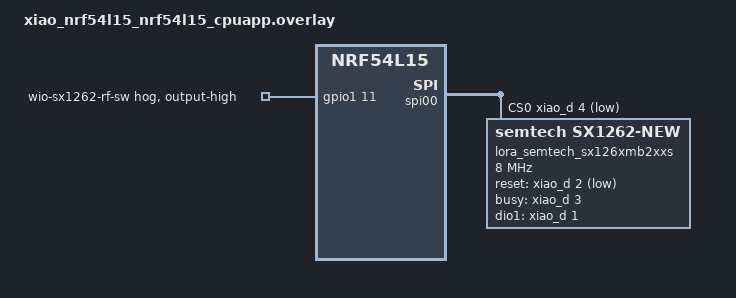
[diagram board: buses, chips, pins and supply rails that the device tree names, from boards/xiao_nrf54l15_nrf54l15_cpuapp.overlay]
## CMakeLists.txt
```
#
# Copyright (c) 2023 Nordic Semiconductor ASA
#
# SPDX-License-Identifier: LicenseRef-Nordic-5-Clause
#

cmake_minimum_required(VERSION 3.20.0)

get_filename_component(SIDEWALK_DEVKIT_BOARD_MODULE
    "${CMAKE_CURRENT_LIST_DIR}/../../../Sidewalk_Devkit_Board_Files"
    ABSOLUTE
)
if(EXISTS "${SIDEWALK_DEVKIT_BOARD_MODULE}/zephyr/module.yml")
    list(APPEND ZEPHYR_EXTRA_MODULES "${SIDEWALK_DEVKIT_BOARD_MODULE}")
endif()

# Zephyr CMake project
find_package(Zephyr REQUIRED HINTS $ENV{ZEPHYR_BASE})
project(sidewalk_sid_end_device)

# Source files
target_include_directories(app PRIVATE include)
target_sources(app PRIVATE
src/main.c
src/sidewalk.c
src/sidewalk_events.c
)
target_sources_ifdef(CONFIG_SIDEWALK_FILE_TRANSFER app PRIVATE 
    src/sbdt/scratch_buffer.c
)
target_sources_ifdef(CONFIG_SIDEWALK_FILE_TRANSFER_DFU app PRIVATE
    src/sbdt/dfu_file_transfer.c
)

if(CONFIG_SID_END_DEVICE_SENSOR_MONITORING)
    target_sources(app PRIVATE
        src/sensor_monitoring/app_buttons.c
        src/sensor_monitoring/app_leds.c
        src/sensor_monitoring/app_sensor.c
        src/sensor_monitoring/app_tx.c
        src/sensor_monitoring/app_rx.c
        src/sensor_monitoring/app.c
    )
    target_sources_ifdef(CONFIG_SID_END_DEVICE_SENSOR_NFC_ID app PRIVATE
        src/sensor_monitoring/app_nfc.c
    )
elseif(CONFIG_SID_END_DEVICE_DUT)
    target_sources(app PRIVATE
        src/cli/app.c
    )
    target_sources_ifdef(CONFIG_SID_END_DEVICE_CLI_SENSOR_COMMANDS app PRIVATE
        src/sensor_monitoring/app_sensor.c
    )
else()
    target_sources(app PRIVATE
        src/hello/app.c
    )
endif()

target_sources_ifdef(CONFIG_SID_END_DEVICE_MEMFAULT app PRIVATE
    src/memfault/app_memfault.c
)
if(CONFIG_SID_END_DEVICE_MEMFAULT)
    zephyr_include_directories(config)
endif()

if(CONFIG_SID_END_DEVICE_CLI)
    target_sources(app PRIVATE
        src/cli/app_cli_ui.c
        src/cli/app_dut.c
        src/cli/app_shell.c
        src/cli/prov_status.c
    )
    target_sources_ifdef(CONFIG_SIDEWALK_FILE_TRANSFER_SHELL app PRIVATE
        src/cli/sbdt_shell.c
        src/cli/sbdt_shell_events.c
        src/cli/sbdt_shell_file_transfer.c
    )
    target_sources_ifdef(CONFIG_SIDEWALK_ON_DEV_CERT app PRIVATE 
        src/cli/sid_on_dev_cert_cli.c
    )
    target_sources_ifdef(CONFIG_SIDEWALK_LOCATION_SHELL app PRIVATE
        src/cli/location_shell.c
        src/cli/location_shell_events.c
    )
endif()
```

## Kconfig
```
#
# Copyright (c) 2022 Nordic Semiconductor ASA
#
# SPDX-License-Identifier: LicenseRef-Nordic-5-Clause
#

mainmenu "Sidewalk End Device nRF Connect Application"

choice SID_END_DEVICE
	prompt "Select application variant to run"
    default SID_END_DEVICE_HELLO
config SID_END_DEVICE_HELLO
    bool "Sidewalk hello world application"
config SID_END_DEVICE_SENSOR_MONITORING
    bool "Demo sensor monitoring application"
    imply SIDEWALK_DEMO_PARSER
    imply SENSOR
    imply TEMP_NRF5
config SID_END_DEVICE_DUT
    bool "Device under test application"
endchoice #SID_END_DEVICE

if SID_END_DEVICE_HELLO

config SID_END_DEVICE_ECHO_MSGS
    bool "Eable message echo feature"
    default y
    help
      Echo received messages back to Sidewlak cloud.
      Works with GET and SET messages types.

config SID_END_DEVICE_HELLO_COMPARE_AUTOSWITCH
    bool "Auto-run DK hello link-switch sequence"
    help
      For single-button boards used in compare testing, inject the same
      short-press sequence normally driven by DK button 3:
      BLE -> FSK -> BLE+LoRa.

if SID_END_DEVICE_HELLO_COMPARE_AUTOSWITCH

config SID_END_DEVICE_HELLO_COMPARE_FSK_DELAY_S
    int "Delay before switching from BLE to FSK"
    range 1 120
    default 6

config SID_END_DEVICE_HELLO_COMPARE_LORA_DELAY_S
    int "Delay before switching from FSK to BLE+LoRa"
    range 1 180
    default 12

endif # SID_END_DEVICE_HELLO_COMPARE_AUTOSWITCH

endif #SID_END_DEVICE_HELLO

if SID_END_DEVICE_SENSOR_MONITORING

rsource "Kconfig.sensor_monitoring"

endif #SID_END_DEVICE_SENSOR_MONITORING

config SID_END_DEVICE_CLI
    bool "Enable Sidewalk CLI (DUT)"
    imply SHELL
    select SIDEWALK_MFG_STORAGE_DIAGNOSTIC
    help
      Enables Sidewalk command line interface.
      The interface commands are compatilbe with former dut sample.

      Selects SIDEWALK_MFG_STORAGE_DIAGNOSTIC because the prov commands write
      credentials with sid_pal_mfg_store_write(), which is compiled as a no-op
      without it. That symbol has no prompt, so it cannot be set from a .conf
      file and has to be selected here. Selecting it directly also means
      SIDEWALK_ON_DEV_CERT can stay off, which frees about 9.8 KB of SRAM
      (kheap_cert_heap and cert_chain_buffer).

if SID_END_DEVICE_CLI

config SHELL_CMD_BUFF_SIZE
	default 1024

config SHELL_STACK_SIZE
	default 8192

config SHELL_BACKEND_SERIAL_TX_RING_BUFFER_SIZE
	default 128

config SHELL_BACKEND_SERIAL_RX_RING_BUFFER_SIZE
	default 1024

config SID_END_DEVICE_NUS_SHELL
	bool "BLE NUS shell companion"
	depends on BT
	select SHELL_BT_NUS
	help
	  Exposes the Zephyr shell over Nordic UART Service on a separate BLE
	  advertiser so browser tools can talk to the DUT shell without taking
	  over the Sidewalk BLE identity.

if SID_END_DEVICE_NUS_SHELL

config SID_END_DEVICE_NUS_DEVICE_NAME
	string "BLE name for the NUS shell advertiser"
	default "XIAO-WebShell"
	help
	  Complete local name placed in the primary legacy advertising packet.
	  Keep the encoded name at 13 bytes or fewer so it fits beside the
	  required advertising flags and Sidewalk identity fingerprint.

config SID_END_DEVICE_NUS_ADV_INTERVAL_MS
	int "NUS advertising interval in ms"
	range 40 2000
	default 200

config SID_END_DEVICE_NUS_CONN_INTERVAL_MIN_MS
	int "Preferred minimum NUS connection interval in ms"
	range 15 4000
	default 30

config SID_END_DEVICE_NUS_CONN_INTERVAL_MAX_MS
	int "Preferred maximum NUS connection interval in ms"
	range 15 4000
	default 60

config SHELL_BT_NUS_TX_RING_BUFFER_SIZE
	default 256

config SHELL_BT_NUS_RX_RING_BUFFER_SIZE
	default 256

endif # SID_END_DEVICE_NUS_SHELL

config SID_END_DEVICE_CLI_ALIVE_MAKRER
    bool "Enable alive marker"
    help
        Enable alive marker that periodically prints "alive" message to log.
        Useful to verify that application is running and not stuck.

config SID_END_DEVICE_CLI_SENSOR_COMMANDS
	bool "Sensor and power send shell commands"
	depends on SENSOR
	default y if SID_END_DEVICE_DUT
	help
	  Adds DUT shell commands that read local sensors and PMIC state,
	  format compact JSON payloads, and send them through the Sidewalk
	  hello-flow transport.

endif # SID_END_DEVICE_CLI

config SID_END_DEVICE_MEMFAULT
    bool "Enable Memfault observability integration"
    select MEMFAULT
    help
      Adds Memfault SDK integration on top of the sensor monitoring app:
      reboot tracking, device-health metrics (battery, temperature,
      Sidewalk send/link counters), and a transport that drains Memfault
      chunks and sends them as Sidewalk uplinks.

      Requires CONFIG_SID_END_DEVICE_SENSOR_MONITORING=y (chunk draining
      reuses its app TX thread) and CONFIG_MEMFAULT_NCS_DEVICE_ID_RUNTIME=y
      (device id is seeded from the Sidewalk SMSN at boot). Both are choice
      members so they cannot be "select"-ed here; set them explicitly in
      the overlay, see overlay-memfault.conf.

if SID_END_DEVICE_MEMFAULT

config SID_END_DEVICE_MEMFAULT_BATTERY_METRICS
    bool "Report battery state of charge to Memfault"
    default y if $(dt_nodelabel_enabled,npm1300_charger)
    select MEMFAULT_METRICS_BATTERY_ENABLE
    help
      Reports battery_soc_pct and the battery discharge session metrics.
      Needs a fuel gauge, so this defaults on only for boards with an
      nPM1300. Boards without one, the XIAO among them, have no state of
      charge to report, and Memfault logs "SOC invalid, dropping data" on
      every heartbeat if this is enabled anyway.

config SID_END_DEVICE_MEMFAULT_DRAIN_INTERVAL_S
    int "Memfault chunk drain interval in seconds"
    default 300
    help
      Period of the timer that queues a Memfault packetizer drain cycle
      onto the Sidewalk app TX thread.

      A heartbeat is two chunks, so a 60 s drain put four Memfault uplinks a
      minute on the air alongside telemetry and swamped the message log. The
      heartbeat itself is collected once a minute regardless; draining every
      5 minutes just batches what has accumulated, and the packetizer keeps
      the backlog in event storage until then.

config SID_END_DEVICE_MEMFAULT_DRAIN_MAX_CHUNKS
    int "Maximum Memfault chunks drained per drain cycle"
    default 4
    help
      Caps how many Memfault chunks are packetized and sent as Sidewalk
      uplinks per drain cycle, so Memfault traffic cannot starve the
      sensor telemetry path.

# Coredumps are never drained over the radio (see
# memfault_packetizer_set_active_sources() in app_memfault.c), so keep the
# RAM backed coredump region small. Never enable
# CONFIG_MEMFAULT_NCS_INTERNAL_FLASH_BACKED_COREDUMP: it uses nrfx_nvmc, and
# nRF54L15 only has RRAMC, so it will not link.
config MEMFAULT_RAM_BACKED_COREDUMP_SIZE
    default 256

config MEMFAULT_NCS_DEVICE_ID_MAX_LEN
    default 64

config MEMFAULT_SHELL
    default n

config MEMFAULT_NCS_STACK_METRICS
    default n

# Heap stats are only useful inside a coredump, which this build never
# sends. Skip the 512 B pool and the k_malloc/k_free wrapping; RAM here is
# too tight to spend on data nothing will read.
config MEMFAULT_HEAP_STATS
    default n

endif # SID_END_DEVICE_MEMFAULT

config SID_END_DEVICE_AUTO_START
    default y
    bool "Enable automatic Sidewalk initlization and start"

config SID_END_DEVICE_AUTO_CONN_REQ
    default y
    bool "Enable automatic connection request before message send"

config SID_END_DEVICE_MULTI_LINK
    bool "Let the Sidewalk stack manage Bluetooth LE, FSK and LoRa together"
    depends on SIDEWALK_SUBGHZ_SUPPORT
    help
      Start Sidewalk with a link mask covering every link this build supports
      and hand link selection to the stack's multi-link manager
      (SID_LINK_CONNECTION_POLICY_MULTI_LINK_MANAGER), instead of running on a
      single link and tearing the stack down to change it.

      This is what makes sub-GHz usable in a demo. The alternative,
      CONFIG_SID_END_DEVICE_SENSOR_LINK_AUTOSWITCH, calls sid_deinit()/sid_init()
      for every change, so switching to FSK drops Bluetooth LE and time sync and
      stops all traffic until the cycle comes back. With multi-link the links
      come up alongside each other and nothing is torn down, so FSK and LoRa can
      take as long as they need to associate without stalling the demo.

      Supersedes SID_END_DEVICE_AUTO_CONN_REQ: the two connection policies are
      mutually exclusive, and this one wins where both are set.

if SID_END_DEVICE_MULTI_LINK

config SID_END_DEVICE_MULTI_LINK_POLICY
    int "Multi-link policy"
    range 0 4
    default 0
    help
      Passed to SID_OPTION_SET_LINK_POLICY_MULTI_LINK_POLICY:
        0 - default, all links enabled
        1 - power save
        2 - performance, better throughput
        3 - latency, faster uplinks
        4 - reliability, longer TTL and more retries

config SID_END_DEVICE_MULTI_LINK_CONNECT_TIMEOUT_S
    int "How long the stack may spend bringing up each link"
    range 1 65535
    default 300
    help
      connection_attempt_timeout_seconds in struct sid_link_auto_connect_params,
      applied per link. Sub-GHz association is slow -- far slower than the 30 s
      the Bluetooth LE only path uses -- so give it minutes. Bluetooth LE
      associates long before this expires, and the timeout only bounds the
      attempt, so a generous value costs nothing when a link is already up.

endif # SID_END_DEVICE_MULTI_LINK

config SID_END_DEVICE_PERSISTENT_LINK_MASK
    bool "Enable persitent link mask"
    help
      The Sidewalk link mask persists after a device reset
      but defaults after a factory reset.
      This could affect the flash lifespan.

config SID_END_DEVICE_EVENT_HEAP_SIZE
    int "Heap for Sidewalk event contexts"
    default 2048

config SIDEWALK_FILE_TRANSFER
    select EXPERIMENTAL
    bool "Enable Sidewalk file transfer"
    help
      Add support for Sidewalk Bulk Data Transfer (SBDT)
      in application.

if SIDEWALK_FILE_TRANSFER

config SIDEWALK_FILE_TRANSFER_HEAP_SIZE
    int "Sidewalk file transfer heap size"
    default 10240
    help
        Heap size in bytes to be allocated
        for Sidewalk Bulk Data Transfer (SBDT).

choice SIDEWALK_FILE_TRANSFER_IMPL
    prompt "Select which implementation of SBDT to use"
    default SIDEWALK_FILE_TRANSFER_DFU

config SIDEWALK_FILE_TRANSFER_DFU
    bool "Sidewalk file transfer and dfu"
    imply SIDEWALK_DFU_IMG_UTILS
    imply DFU_MULTI_IMAGE
    imply DFU_TARGET
    imply DFU_TARGET_MCUBOOT
    imply STREAM_FLASH
    imply STREAM_FLASH_ERASE
    help
        Save recived data to flash. Expect CBOR manifest.
        Autoatically reset device after file transfer.

config SIDEWALK_FILE_TRANSFER_SHELL
    bool "SBDT cli backend for file transfer"
    imply SHELL
    help
        Use shell commands to controll file transfer.
        This implementation does not save received data,
        but allows user to controll the sbdt behaviour form shell.

endchoice

config SBDT_MAX_PARALEL_TRANSFERS
    int "maximum number of sbdt paralel transfers"
    default 3

endif # SIDEWALK_FILE_TRANSFER

config SIDEWALK_LOCATION_SHELL
    bool "Enable Sidewalk Location CLI"
    depends on SID_END_DEVICE_CLI
    help
        Enables Sidewalk location and dult command line interface.
        Provides commands for location services and unwanted location tracking.

if SIDEWALK_CRYPTO

choice CC3XX_LOCK_VARIANT
	default CC3XX_ATOMIC_LOCK if SOC_NRF52840
	default CC3XX_HW_MUTEX_LOCK if SOC_NRF5340_CPUAPP
endchoice

config PSA_WANT_ALG_SHA_512
	default y if SOC_SERIES_NRF54LX

config PSA_WANT_ALG_CHACHA20_POLY1305
	default n

config PSA_WANT_ALG_SHA_224
	default n

config PSA_WANT_ALG_SHA_384
	default n

config PSA_WANT_ALG_CBC_NO_PADDING
	default n

config PSA_WANT_ALG_CBC_PKCS7
	default n

config PSA_WANT_ALG_HKDF
	default n

config PSA_USE_CC3XX_KEY_AGREEMENT_DRIVER
	default n if SOC_NRF52840 || SOC_NRF5340_CPUAPP

config PSA_USE_CC3XX_ASYMMETRIC_SIGNATURE_DRIVER
	default n if SOC_NRF52840 || SOC_NRF5340_CPUAPP

config PSA_USE_CC3XX_ASYMMETRIC_ENCRYPTION_DRIVER
	default n if SOC_NRF52840 || SOC_NRF5340_CPUAPP

config PSA_USE_CC3XX_KEY_MANAGEMENT_DRIVER
	default n if SOC_NRF52840 || SOC_NRF5340_CPUAPP

endif #SIDEWALK_CRYPTO

if SHELL
# TODO: Remove when merged in NCS copy of sdk-zephyr https://github.com/zephyrproject-rtos/zephyr/pull/85790
# Workaround for missing first few logs.
    config LOG_BACKEND_RTT
        bool "Segger J-Link RTT backend"
        depends on USE_SEGGER_RTT
        default y if !SHELL_LOG_BACKEND
        default n
endif #SHELL



source "Kconfig.zephyr"
```

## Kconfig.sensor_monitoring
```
#
# Copyright (c) 2022 Nordic Semiconductor ASA
#
# SPDX-License-Identifier: LicenseRef-Nordic-5-Clause
#

config SID_END_DEVICE_NOTIFY_DATA_PERIOD_MS
    int "Notify period of sensor monitoring demo app"
    default 300000
    help
      How often the app TX thread wakes up to sample sensors and send a telemetry
      uplink. Sidewalk gateways enforce per-device duty-cycle and message-rate
      limits, and this uplink competes for airtime with the Memfault chunk drain
      (its own timer, see CONFIG_SID_END_DEVICE_MEMFAULT_DRAIN_INTERVAL_S). Each
      notify period sends more than one uplink -- the demo binary notify and the
      JSON telemetry payload -- and the drain adds two more chunks, so a short
      period floods the message log. 5 minutes is about 12 telemetry uplinks an
      hour, which still looks live on a dashboard without burying everything
      else. Tune it per deployment: shorter for a bench demo next to a gateway,
      longer for a battery-powered field unit.

config SID_END_DEVICE_NOTIFY_CAPABILITY_RETRY_INITIAL_S
    int "Initial capability resend interval"
    range 1 3600
    default 30
    help
      How soon after time sync succeeds the device first resends the capability
      discovery message if the cloud has not acknowledged it yet. Deliberately
      decoupled from CONFIG_SID_END_DEVICE_NOTIFY_DATA_PERIOD_MS: the capability
      message is low-value traffic (its payload is empty on boards with no
      sensors) and should not be forced onto the same cadence as telemetry.

config SID_END_DEVICE_NOTIFY_CAPABILITY_RETRY_MAX_S
    int "Maximum capability resend interval"
    range 1 3600
    default 300
    help
      Upper bound for the capability resend backoff. Each unacknowledged resend
      doubles the wait, capped here, so a device that never receives a capability
      ack (no downlink support, or the network has none to send) settles at one
      resend every 5 minutes instead of hammering the network on every notify
      period forever.

config SID_END_DEVICE_SENSOR_TELEMETRY_PAYLOAD
    bool "Send compact Sidewalk sensor telemetry payload"
    default y

config SID_END_DEVICE_FUEL_GAUGE
    bool "Use nRF fuel gauge for battery level estimation"
    default y
    help
      Estimate battery percentage from PMIC voltage/current/temperature measurements with the
      nRF Fuel Gauge library.
    select NRF_FUEL_GAUGE

config SID_END_DEVICE_SENSOR_SAMPLE_LOG
    bool "Log local sensor samples"
    default y

config SID_END_DEVICE_SENSOR_AUTO_TX
    bool "Automatically send sensor sample packets"
    default y
    help
      Enable the original sensor-monitoring sample behavior that sends capability,
      sensor, telemetry, and button packets from timers or sensor wake events.

config SID_END_DEVICE_SENSOR_LINK_AUTOSWITCH
    bool "Automatically try BLE, FSK, and LoRa links"

if SID_END_DEVICE_SENSOR_LINK_AUTOSWITCH

config SID_END_DEVICE_SENSOR_AUTOSWITCH_FSK_DELAY_S
    int "Delay before switching from BLE to FSK"
    range 1 300
    default 20

config SID_END_DEVICE_SENSOR_AUTOSWITCH_LORA_DELAY_S
    int "Delay before switching from FSK to BLE plus LoRa"
    range 1 600
    default 60

config SID_END_DEVICE_SENSOR_AUTOSWITCH_ROTATE_PERIOD_S
    int "Time to dwell on BLE between link excursions"
    range 60 86400
    default 1800
    help
      Once the initial BLE -> FSK -> BLE+LoRa pass finishes, the demo keeps
      cycling through the same three link states forever so all three get
      exercised occasionally. This is how long it dwells on plain BLE, the link
      that carries telemetry and the Memfault drain, before the next excursion.
      30 minutes leaves BLE undisturbed for a long stretch on a network with
      duty-cycle limits, while still visiting FSK and LoRa a few times an hour
      on a demo that keeps running.

config SID_END_DEVICE_SENSOR_AUTOSWITCH_FALLBACK_TIMEOUT_S
    int "Time to wait for an FSK/LoRa excursion before moving on"
    range 5 600
    default 30
    help
      How long the rotation waits after switching to FSK or to BLE+LoRa before
      checking sid_status link_status_mask and moving on to the next link
      regardless of the result. The FSK phase drops BLE entirely, so this also
      bounds how long the Memfault drain and telemetry uplinks go without any
      link if FSK, or later LoRa, never reports link-up, which is the expected
      outcome on hardware with no gateway on those bands. 30 s gives a real
      gateway time to associate without leaving BLE dark for long when there is
      none.

endif # SID_END_DEVICE_SENSOR_LINK_AUTOSWITCH

config SID_END_DEVICE_SENSOR_NFC_ID
    bool "Expose device identity over NFC"
    depends on NFC_T2T_NRFXLIB
    select NFC_NDEF
    select NFC_NDEF_MSG
    select NFC_NDEF_RECORD
    select NFC_NDEF_TEXT_RECORD

config SIDEWALK_THREAD_PRIORITY
    default 12

config SID_END_DEVICE_TX_THREAD_PRIORITY
    int
    default 13

config SID_END_DEVICE_RX_THREAD_PRIORITY
    int
    default 14

config SID_END_DEVICE_TX_THREAD_STACK_SIZE
    int
    default 4096

config SID_END_DEVICE_RX_THREAD_STACK_SIZE
    int
    default 4096

config SID_END_DEVICE_TX_THREAD_QUEUE_SIZE
    int
    default 10

config SID_END_DEVICE_RX_THREAD_QUEUE_SIZE
    int
    default 4
```

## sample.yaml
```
sample:
  name: Sidewalk end device sample
  description: Sample implementing Amazon Sidewalk End Device
common:
  sysbuild: true
  build_only: true
  platform_allow:
    - nrf52840dk/nrf52840
    - nrf5340dk/nrf5340/cpuapp
    - nrf54l15dk/nrf54l15/cpuapp
    - nrf54l15dk/nrf54l15/cpuapp/ns
    - nrf54l15dk/nrf54l10/cpuapp
    - xiao_nrf54l15/nrf54l15/cpuapp
tests:
  sample.sidewalk.web_demo.xiao:
    integration_platforms:
      - xiao_nrf54l15/nrf54l15/cpuapp
    extra_args:
      - FILE_SUFFIX=release
      - OVERLAY_CONFIG="overlay-min-size.conf;overlay-prop-radio.conf;overlay-web-demo.conf"
      - DTC_OVERLAY_FILE="boards/xiao_nrf54l15_nrf54l15_cpuapp.overlay;overlay-web-demo.overlay"
    extra_configs:
      - CONFIG_SIDEWALK_APPLICATION_NAME="hello.web_demo"
    tags:
      - Sidewalk
      - hello
      - web
      - xiao

  sample.sidewalk.hello.sx1262:
    integration_platforms:
      - nrf52840dk/nrf52840
      - nrf5340dk/nrf5340/cpuapp
      - nrf54l15dk/nrf54l15/cpuapp
      - nrf54l15dk/nrf54l15/cpuapp/ns
      - nrf54l15dk/nrf54l10/cpuapp
    extra_args:
      - OVERLAY_CONFIG="overlay-hello.conf"
      - SHIELD="simple_arduino_adapter;semtech_sx1262mb2cas"
    extra_configs:
      - CONFIG_SID_END_DEVICE_PERSISTENT_LINK_MASK=y
      - CONFIG_SIDEWALK_FILE_TRANSFER=y
      - CONFIG_SIDEWALK_APPLICATION_NAME="hello"
    tags:
      - Sidewalk
      - hello
      - sx1262

  sample.sidewalk.hello.lr1110:
    platform_exclude:
      - nrf5340dk/nrf5340/cpuapp
    integration_platforms:
      - nrf52840dk/nrf52840
      - nrf54l15dk/nrf54l15/cpuapp
      - nrf54l15dk/nrf54l15/cpuapp/ns
      - nrf54l15dk/nrf54l10/cpuapp
    extra_args:
      - OVERLAY_CONFIG="overlay-hello.conf"
      - SHIELD="simple_arduino_adapter;semtech_lr1110mb1xxs"
    extra_configs:
      - CONFIG_SID_END_DEVICE_PERSISTENT_LINK_MASK=y
      - CONFIG_SIDEWALK_FILE_TRANSFER=y
      - CONFIG_SIDEWALK_APPLICATION_NAME="hello"
    tags:
      - Sidewalk
      - hello
      - lr1110

  sample.sidewalk.hello.release.sx1262:
    integration_platforms:
      - nrf52840dk/nrf52840
      - nrf5340dk/nrf5340/cpuapp
      - nrf54l15dk/nrf54l15/cpuapp
      - nrf54l15dk/nrf54l15/cpuapp/ns
      - nrf54l15dk/nrf54l10/cpuapp
    extra_args:
      - FILE_SUFFIX=release
      - OVERLAY_CONFIG="overlay-hello.conf"
      - SHIELD="simple_arduino_adapter;semtech_sx1262mb2cas"
    extra_configs:
      - CONFIG_SID_END_DEVICE_PERSISTENT_LINK_MASK=y
      - CONFIG_SIDEWALK_APPLICATION_NAME="hello.release"
    tags:
      - Sidewalk
      - hello
      - sx1262

  sample.sidewalk.hello.release.lr1110:
    platform_exclude:
      - nrf5340dk/nrf5340/cpuapp
    integration_platforms:
      - nrf52840dk/nrf52840
      - nrf54l15dk/nrf54l15/cpuapp
      - nrf54l15dk/nrf54l15/cpuapp/ns
      - nrf54l15dk/nrf54l10/cpuapp
    extra_args:
      - FILE_SUFFIX=release
      - OVERLAY_CONFIG="overlay-hello.conf"
      - SHIELD="simple_arduino_adapter;semtech_lr1110mb1xxs"

    extra_configs:
      - CONFIG_SID_END_DEVICE_PERSISTENT_LINK_MASK=y
      - CONFIG_SIDEWALK_APPLICATION_NAME="hello.release"
    tags:
      - Sidewalk
      - hello
      - lr1110

  sample.sidewalk.hello.ble_only:
    integration_platforms:
      - nrf52840dk/nrf52840
      - nrf5340dk/nrf5340/cpuapp
      - nrf54l15dk/nrf54l15/cpuapp
      - nrf54l15dk/nrf54l15/cpuapp/ns
      - nrf54l15dk/nrf54l10/cpuapp
    extra_configs:
      - CONFIG_SIDEWALK_APPLICATION_NAME="hello.ble_only"
    tags:
      - Sidewalk
      - hello
      - BLE

  sample.sidewalk.hello.ble_only.release:
    integration_platforms:
      - nrf52840dk/nrf52840
      - nrf5340dk/nrf5340/cpuapp
      - nrf54l15dk/nrf54l15/cpuapp
      - nrf54l15dk/nrf54l15/cpuapp/ns
      - nrf54l15dk/nrf54l10/cpuapp
    extra_args: FILE_SUFFIX=release
    extra_configs:
      - CONFIG_SIDEWALK_APPLICATION_NAME="hello.ble_only.release"
    tags:
      - Sidewalk
      - hello
      - BLE

  sample.sidewalk.demo.sx1262:
    integration_platforms:
      - nrf52840dk/nrf52840
      - nrf5340dk/nrf5340/cpuapp
      - nrf54l15dk/nrf54l15/cpuapp
      - nrf54l15dk/nrf54l15/cpuapp/ns
      - nrf54l15dk/nrf54l10/cpuapp
    extra_args:
      - OVERLAY_CONFIG="overlay-demo.conf"
      - SHIELD="simple_arduino_adapter;semtech_sx1262mb2cas"
    extra_configs:
      - CONFIG_SID_END_DEVICE_PERSISTENT_LINK_MASK=y
      - CONFIG_SIDEWALK_APPLICATION_NAME="demo"
    tags:
      - Sidewalk
      - demo
      - sx1262

  sample.sidewalk.demo.lr1110:
    platform_exclude:
      - nrf5340dk/nrf5340/cpuapp
    integration_platforms:
      - nrf52840dk/nrf52840
      - nrf54l15dk/nrf54l15/cpuapp
      - nrf54l15dk/nrf54l15/cpuapp/ns
      - nrf54l15dk/nrf54l10/cpuapp
    extra_args:
      - OVERLAY_CONFIG="overlay-demo.conf"
      - SHIELD="simple_arduino_adapter;semtech_lr1110mb1xxs"
    extra_configs:
      - CONFIG_SID_END_DEVICE_PERSISTENT_LINK_MASK=y
      - CONFIG_SIDEWALK_APPLICATION_NAME="demo"
    tags:
      - Sidewalk
      - demo
      - lr1110

  sample.sidewalk.demo.ble_only:
    platform_allow:
      - thingy53/nrf5340/cpuapp
    extra_args: OVERLAY_CONFIG="overlay-demo.conf"
    extra_configs:
      - CONFIG_SIDEWALK_APPLICATION_NAME="demo.ble_only"
    integration_platforms:
      - thingy53/nrf5340/cpuapp
    tags:
      - Sidewalk
      - demo
      - BLE

  sample.sidewalk.dut.sx1262:
    integration_platforms:
      - nrf52840dk/nrf52840
      - nrf5340dk/nrf5340/cpuapp
      - nrf54l15dk/nrf54l15/cpuapp
      - nrf54l15dk/nrf54l15/cpuapp/ns
      - nrf54l15dk/nrf54l10/cpuapp
    extra_args:
      - OVERLAY_CONFIG="overlay-dut.conf"
      - SHIELD="simple_arduino_adapter;semtech_sx1262mb2cas"
    extra_configs:
      - CONFIG_SIDEWALK_APPLICATION_NAME="dut"
    tags:
      - Sidewalk
      - cli
      - sx1262

  sample.sidewalk.dut.lr1110:
    platform_exclude:
      - nrf5340dk/nrf5340/cpuapp
      - nrf54l15dk/nrf54l15/cpuapp/ns
    integration_platforms:
      - nrf52840dk/nrf52840
      - nrf54l15dk/nrf54l15/cpuapp
      - nrf54l15dk/nrf54l10/cpuapp
    extra_args:
      - OVERLAY_CONFIG="overlay-dut.conf"
      - SHIELD="simple_arduino_adapter;semtech_lr1110mb1xxs"
    extra_configs:
      - CONFIG_SIDEWALK_APPLICATION_NAME="dut"
    tags:
      - Sidewalk
      - cli
      - lr1110

  sample.sidewalk.dut.ble_only:
    integration_platforms:
      - nrf52840dk/nrf52840
      - nrf5340dk/nrf5340/cpuapp
      - nrf54l15dk/nrf54l15/cpuapp
      - nrf54l15dk/nrf54l15/cpuapp/ns
      - nrf54l15dk/nrf54l10/cpuapp
    extra_args: OVERLAY_CONFIG="overlay-dut.conf"
    extra_configs:
      - CONFIG_SIDEWALK_APPLICATION_NAME="dut.ble_only"
    tags:
      - Sidewalk
      - cli
      - BLE

  sample.sidewalk.dut.no_secure:
    integration_platforms:
      - nrf52840dk/nrf52840
      - nrf5340dk/nrf5340/cpuapp
      - nrf54l15dk/nrf54l15/cpuapp
      - nrf54l15dk/nrf54l15/cpuapp/ns
      - nrf54l15dk/nrf54l10/cpuapp
    extra_args:
      - OVERLAY_CONFIG="overlay-dut.conf"
      - SHIELD="simple_arduino_adapter;semtech_sx1262mb2cas"
    extra_configs:
      - CONFIG_SIDEWALK_CRYPTO_PSA_KEY_STORAGE=n
      - CONFIG_SIDEWALK_APPLICATION_NAME="dut.no_secure"
    tags:
      - Sidewalk
      - cli
      - no_secure

  sample.sidewalk.helloPower.ble.release:
    platform_exclude:
      - nrf52840dk/nrf52840
      - nrf5340dk/nrf5340/cpuapp
      - nrf54l15dk/nrf54l15/cpuapp/ns
      - nrf54l15dk/nrf54l10/cpuapp
    extra_args: FILE_SUFFIX=release
    extra_configs:
      - CONFIG_STATE_NOTIFIER=n
      - CONFIG_SIDEWALK_LINK_MASK_BLE=y
      - CONFIG_SIDEWALK_APPLICATION_NAME="helloPower.release.ble"
    tags:
      - Sidewalk
      - helloPower

  sample.sidewalk.helloPower.fsk.release.sx1262:
    platform_exclude:
      - nrf52840dk/nrf52840
      - nrf5340dk/nrf5340/cpuapp
      - nrf54l15dk/nrf54l15/cpuapp/ns
      - nrf54l15dk/nrf54l10/cpuapp
    extra_args:
      - FILE_SUFFIX=release
      - SHIELD="simple_arduino_adapter;semtech_sx1262mb2cas"
    extra_configs:
      - CONFIG_STATE_NOTIFIER=n
      - CONFIG_SIDEWALK_LINK_MASK_FSK=y
      - CONFIG_SIDEWALK_APPLICATION_NAME="helloPower.release.fsk"
    tags:
      - Sidewalk
      - helloPower
      - sx1262

  sample.sidewalk.helloPower.lora.release.sx1262:
    platform_exclude:
      - nrf52840dk/nrf52840
      - nrf5340dk/nrf5340/cpuapp
      - nrf54l15dk/nrf54l15/cpuapp/ns
      - nrf54l15dk/nrf54l10/cpuapp
    extra_args:
      - FILE_SUFFIX=release
      - SHIELD="simple_arduino_adapter;semtech_sx1262mb2cas"
    extra_configs:
      - CONFIG_STATE_NOTIFIER=n
      - CONFIG_SIDEWALK_LINK_MASK_LORA=y
      - CONFIG_SIDEWALK_APPLICATION_NAME="helloPower.release.lora"
    tags:
      - Sidewalk
      - helloPower
      - sx1262

  sample.sidewalk.helloPower.ble_only.release:
    platform_exclude:
      - nrf52840dk/nrf52840
      - nrf5340dk/nrf5340/cpuapp
      - nrf54l15dk/nrf54l15/cpuapp/ns
      - nrf54l15dk/nrf54l10/cpuapp
    extra_args: FILE_SUFFIX=release
    extra_configs:
      - CONFIG_STATE_NOTIFIER=n
      - CONFIG_SIDEWALK_APPLICATION_NAME="helloPower.ble_only.release"
    tags:
      - Sidewalk
      - helloPower
      - BLE
```

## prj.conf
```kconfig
#
# Copyright (c) 2023 Nordic Semiconductor ASA
#
# SPDX-License-Identifier: LicenseRef-Nordic-5-Clause
#
CONFIG_STATIC_INIT_GNU=y

# Sidewalk
CONFIG_SIDEWALK=y
CONFIG_SMF=y

# Log
CONFIG_LOG=y
CONFIG_LOG_PRINTK=y
CONFIG_LOG_BUFFER_SIZE=4096
# Bluetooth
CONFIG_BT_DEVICE_NAME="Nordic"
CONFIG_SID_END_DEVICE_NUS_SHELL=n

# Stack and Heap
CONFIG_SYSTEM_WORKQUEUE_STACK_SIZE=4096
CONFIG_HEAP_MEM_POOL_SIZE=4096
CONFIG_MBEDTLS_HEAP_SIZE=4096

# Power Management
CONFIG_PM_DEVICE=y
CONFIG_POWEROFF=y

# Debug
CONFIG_NCS_APPLICATION_BOOT_BANNER_STRING="Sidewalk"
CONFIG_RESET_ON_FATAL_ERROR=n
CONFIG_SYS_HEAP_RUNTIME_STATS=y
```

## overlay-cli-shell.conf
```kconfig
#
# Copyright (c) 2026
#
# SPDX-License-Identifier: LicenseRef-Nordic-5-Clause
#

CONFIG_SID_END_DEVICE_CLI=y
CONFIG_SID_END_DEVICE_DEFAULT_ALL_LINKS=y
CONFIG_LOG=y
CONFIG_LOG_PRINTK=y
CONFIG_SHELL=y
CONFIG_REBOOT=y
CONFIG_SIDEWALK_DFU=n
```

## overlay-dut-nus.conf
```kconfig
#
# Copyright (c) 2026
#
# SPDX-License-Identifier: LicenseRef-Nordic-5-Clause
#
CONFIG_SID_END_DEVICE_NUS_SHELL=y
CONFIG_SHELL_BT_NUS_INIT_LOG_LEVEL_NONE=y

CONFIG_BT_MAX_CONN=2
CONFIG_BT_EXT_ADV_MAX_ADV_SET=2
```

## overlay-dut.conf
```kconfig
#
# Copyright (c) 2024 Nordic Semiconductor ASA
#
# SPDX-License-Identifier: LicenseRef-Nordic-5-Clause
#
CONFIG_SID_END_DEVICE_DUT=y

CONFIG_SID_END_DEVICE_CLI=y
# On-device certification is unused: provisioning writes credentials from the
# web app via the prov commands and sid_pal_mfg_store_write(). Leaving it off
# frees about 9.8 KB of SRAM (kheap_cert_heap, cert_chain_buffer). The mfg
# store write path stays enabled via SID_END_DEVICE_CLI selecting
# SIDEWALK_MFG_STORAGE_DIAGNOSTIC.
CONFIG_SIDEWALK_ON_DEV_CERT=n

CONFIG_SID_END_DEVICE_AUTO_START=n
CONFIG_SID_END_DEVICE_ECHO_MSGS=n

CONFIG_SIDEWALK_FILE_TRANSFER=y
CONFIG_SIDEWALK_FILE_TRANSFER_SHELL=y
CONFIG_SIDEWALK_LOCATION_SHELL=y
```

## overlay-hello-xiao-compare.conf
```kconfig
CONFIG_STATE_NOTIFIER=y
CONFIG_SID_END_DEVICE_PERSISTENT_LINK_MASK=y
CONFIG_SIDEWALK_APPLICATION_NAME="hello"
CONFIG_SID_END_DEVICE_HELLO_COMPARE_AUTOSWITCH=y
CONFIG_SID_END_DEVICE_HELLO_COMPARE_FSK_DELAY_S=6
CONFIG_SID_END_DEVICE_HELLO_COMPARE_LORA_DELAY_S=12
CONFIG_BT_CTLR_TX_PWR_PLUS_8=y
```

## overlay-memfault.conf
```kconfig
#
# Copyright (c) 2026
#
# SPDX-License-Identifier: LicenseRef-Nordic-5-Clause
#
CONFIG_SID_END_DEVICE_MEMFAULT=y

# Chunk draining reuses the sensor monitoring app's TX thread, so pick that
# app variant (this overrides overlay-dut.conf's CONFIG_SID_END_DEVICE_DUT,
# since both are members of the same choice and this file is merged last).
CONFIG_SID_END_DEVICE_SENSOR_MONITORING=y

# Seed the Memfault device id from the Sidewalk SMSN at boot instead of using
# a static/IMEI/MAC id. Also a choice member, set explicitly for the same
# reason as above.
CONFIG_MEMFAULT_NCS_DEVICE_ID_RUNTIME=y

# Reboot reason tracking reads the reset cause through HWINFO.
CONFIG_HWINFO=y

# The BUILD_ASSERT()s in nrf/modules/memfault-firmware-sdk/memfault_integration.c
# require these to be non-empty; there is no board specific default for either.
CONFIG_MEMFAULT_NCS_FW_TYPE="sidewalk-demo"
CONFIG_MEMFAULT_NCS_HW_VERSION="xiao_nrf54l15_cpuapp"

# No IP stack on this device: the backend holds the Memfault project key and
# does the HTTP POST, so CONFIG_MEMFAULT_HTTP_ENABLE must stay off and no
# project key is needed here.

# Memfault event storage holds heartbeats, reboots and traces until a drain
# sends them. The 1024 byte default overflows on a device that cannot reach a
# gateway for a few minutes, which is exactly when the data matters:
#   <err> mflt: Event storage full
# 2048 buys roughly twice the offline window for 1 KB of SRAM. Raise it further
# if devices are expected to stay offline for long stretches, and watch RAM:
# the Memfault build already sits near 93 percent of the 188 KB region.
CONFIG_MEMFAULT_EVENT_STORAGE_SIZE=2048

# base64_encode() for "mflt export", which prints a chunk as text so a host can
# collect it over BLE and post it with the memfault CLI.
CONFIG_BASE64=y

# Use all three Sidewalk links, managed by the stack.
#
# CONFIG_SID_END_DEVICE_MULTI_LINK starts Sidewalk with a BLE|FSK|LoRa link mask
# and hands link selection to the multi-link manager, so the links come up
# alongside each other. Sub-GHz association is slow, so each link gets minutes
# rather than the 30 s the Bluetooth LE only path allows.
#
# The alternative, CONFIG_SID_END_DEVICE_SENSOR_LINK_AUTOSWITCH, is left off. It
# calls sid_deinit()/sid_init() for every change, so its FSK phase drops
# Bluetooth LE entirely: measured on a XIAO nRF54L15, that lost BLE and time
# sync and stopped telemetry and the Memfault drain until the cycle came back.
# Multi-link tears nothing down, so a slow FSK or LoRa association costs
# nothing. Use "sid flow set fsk" / "sid flow set ble" from the shell to force a
# single link by hand.
CONFIG_SID_END_DEVICE_MULTI_LINK=y
CONFIG_SID_END_DEVICE_MULTI_LINK_POLICY=0
CONFIG_SID_END_DEVICE_MULTI_LINK_CONNECT_TIMEOUT_S=300
CONFIG_SID_END_DEVICE_SENSOR_LINK_AUTOSWITCH=n
```

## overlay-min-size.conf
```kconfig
#
# Copyright (c) 2026
#
# SPDX-License-Identifier: LicenseRef-Nordic-5-Clause
#

CONFIG_SID_END_DEVICE_HELLO=y
CONFIG_SIDEWALK_APPLICATION_NAME="hello.min"
CONFIG_SIDEWALK_LINK_MASK_LORA=y

# Drop sample/demo features that are not needed in the combined LoRa + Sidewalk build.
CONFIG_STATE_NOTIFIER=n
CONFIG_SIDEWALK_BUTTONS=n
CONFIG_SIDEWALK_DFU=n
CONFIG_SIDEWALK_CRYPTO_PSA_KEY_STORAGE=n
CONFIG_SIDEWALK_MFG_STORAGE_SUPPORT_HEX_v7=n
CONFIG_SIDEWALK_ASSERT=n
CONFIG_SIDEWALK_LOG=n
CONFIG_SIDEWALK_TEMPERATURE=n
CONFIG_SYS_HEAP_RUNTIME_STATS=n
CONFIG_BT_REMOTE_VERSION=n

# Trim sample-owned RAM while keeping the Sidewalk thread stack at its minimum.
CONFIG_HEAP_MEM_POOL_SIZE=2048
CONFIG_MBEDTLS_HEAP_SIZE=3072
CONFIG_SIDEWALK_HEAP_SIZE=4096
CONFIG_SID_END_DEVICE_EVENT_HEAP_SIZE=1024
CONFIG_SIDEWALK_THREAD_QUEUE_SIZE=8
CONFIG_SYSTEM_WORKQUEUE_STACK_SIZE=2048
```

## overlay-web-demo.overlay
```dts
/*
 * Copyright (c) 2026
 *
 * SPDX-License-Identifier: LicenseRef-Nordic-5-Clause
 *
 * Intentionally empty.
 *
 * The XIAO board default keeps zephyr,console and zephyr,shell-uart on uart20,
 * which is exposed through the CMSIS-DAP USB serial bridge. The web shell uses
 * the dedicated Bluetooth NUS shell backend instead of hijacking the main UART.
 */
```

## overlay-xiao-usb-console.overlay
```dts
/*
 * Copyright (c) 2026
 *
 * SPDX-License-Identifier: LicenseRef-Nordic-5-Clause
 */

/ {
	chosen {
		zephyr,console = &uart21;
		zephyr,shell-uart = &uart21;
	};
};

&uart21 {
	status = "okay";
};
```

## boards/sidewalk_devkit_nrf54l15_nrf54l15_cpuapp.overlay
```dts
/*
 * Copyright (c) 2026
 *
 * SPDX-License-Identifier: LicenseRef-Nordic-5-Clause
 */

#include <zephyr/dt-bindings/input/input-event-codes.h>
#include <zephyr/dt-bindings/lora_lbm/sx126x.h>

/ {
	chosen {
		zephyr,lora-transceiver = &lora_semtech_sx126xmb2xxs;
	};

	aliases {
		lora-transceiver = &lora_semtech_sx126xmb2xxs;
	};

	app_cli_ui_longpress: app-cli-ui-longpress {
		compatible = "zephyr,input-longpress";
		status = "disabled";
		input = <&{/buttons}>;
		input-codes = <INPUT_KEY_0>;
		long-codes = <INPUT_KEY_POWER>;
		long-delay-ms = <2000>;
	};
};

&target_led0 {
	status = "okay";
};

arduino_spi: &spi00 {
	status = "okay";
};

lora_semtech_sx126xmb2xxs: &sx1262 {
	compatible = "semtech,sx1262-new";
	/delete-property/ dio2-tx-enable;
	dio2-as-rf-switch;
	reg-mode = <SX126X_REG_MODE_DCDC>;
	rx-boosted;
	/* DIO3 powers ANT_SW/RF switch VDD on the devkit. */
	dio3-output-voltage = <SX126X_TCXO_SUPPLY_3_3V>;
};

&npm1300_charger {
	thermistor-ohms = <0>;
	charging-enable;
};
```

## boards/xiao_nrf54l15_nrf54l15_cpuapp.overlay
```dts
/*
 * Copyright (c) 2026
 *
 * SPDX-License-Identifier: LicenseRef-Nordic-5-Clause
 */

#include <zephyr/dt-bindings/input/input-event-codes.h>
#include <zephyr/dt-bindings/lora_lbm/sx126x.h>

/ {
	chosen {
		zephyr,lora-transceiver = &lora_semtech_sx126xmb2xxs;
	};

	aliases {
		lora-transceiver = &lora_semtech_sx126xmb2xxs;
	};

	app_cli_ui_longpress: app-cli-ui-longpress {
		compatible = "zephyr,input-longpress";
		input = <&buttons>;
		input-codes = <INPUT_KEY_ENTER>;
		long-codes = <INPUT_KEY_POWER>;
		long-delay-ms = <2000>;
	};
};

&usr_btn {
	gpios = <&xiao_d 0 (GPIO_PULL_UP | GPIO_ACTIVE_LOW)>;
	label = "Sidewalk Button";
	zephyr,code = <INPUT_KEY_ENTER>;
};

&i2c22 {
	status = "disabled";
};

&gpio1 {
	wio_sx1262_rf_sw_high {
		gpio-hog;
		gpios = <11 GPIO_ACTIVE_HIGH>;
		output-high;
		line-name = "wio-sx1262-rf-sw";
	};
};

arduino_spi: &spi00 {
	status = "okay";
	cs-gpios = <&xiao_d 4 GPIO_ACTIVE_LOW>;

	lora_semtech_sx126xmb2xxs: lora@0 {
		compatible = "semtech,sx1262-new";
		reg = <0>;
		spi-max-frequency = <DT_FREQ_M(8)>;

		reset-gpios = <&xiao_d 2 GPIO_ACTIVE_LOW>;
		busy-gpios = <&xiao_d 3 GPIO_ACTIVE_HIGH>;
		dio1-gpios = <&xiao_d 1 (GPIO_ACTIVE_HIGH | GPIO_PULL_DOWN)>;
		dio2-as-rf-switch;

		dio3-as-tcxo-control;
			tcxo-voltage = <SX126X_TCXO_SUPPLY_1_8V>;
		tcxo-wakeup-time = <5>;

		reg-mode = <SX126X_REG_MODE_LDO>;

	};
};
```

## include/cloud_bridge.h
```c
/*
 * Copyright (c) 2026
 *
 * SPDX-License-Identifier: LicenseRef-Nordic-5-Clause
 */

#ifndef SAMPLE_CLOUD_BRIDGE_H
#define SAMPLE_CLOUD_BRIDGE_H

#include <sid_api.h>

void cloud_bridge_on_msg_received(const struct sid_msg_desc *msg_desc, const struct sid_msg *msg);

#endif /* SAMPLE_CLOUD_BRIDGE_H */
```

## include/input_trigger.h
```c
/*
 * Copyright (c) 2026
 *
 * SPDX-License-Identifier: LicenseRef-Nordic-5-Clause
 */

#ifndef SAMPLE_INPUT_TRIGGER_H
#define SAMPLE_INPUT_TRIGGER_H

#include <sid_api.h>

int input_trigger_init(void);

void input_trigger_on_status_changed(const struct sid_status *status);

void input_trigger_on_msg_sent(const struct sid_msg_desc *msg_desc);

void input_trigger_on_send_error(const struct sid_msg_desc *msg_desc);

#endif /* SAMPLE_INPUT_TRIGGER_H */
```

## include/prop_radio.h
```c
/*
 * Copyright (c) 2026
 *
 * SPDX-License-Identifier: LicenseRef-Nordic-5-Clause
 */

#ifndef PROP_RADIO_H
#define PROP_RADIO_H

#include <sid_error.h>
#include <sid_pal_radio_ifc.h>
#include <sidewalk.h>

#include <zephyr/kernel.h>

#ifdef __cplusplus
extern "C" {
#endif

#define PROP_RADIO_DEFAULT_FREQUENCY_HZ 915000000U
#define PROP_RADIO_DEFAULT_TX_POWER_DBM 10
#define PROP_RADIO_MAX_PAYLOAD_LEN 240U

enum prop_radio_request_op {
	PROP_RADIO_REQ_CLAIM = 0,
	PROP_RADIO_REQ_RELEASE,
	PROP_RADIO_REQ_CONFIG,
	PROP_RADIO_REQ_TX,
	PROP_RADIO_REQ_RX_START,
	PROP_RADIO_REQ_RX_STOP,
};

struct prop_radio_config {
	uint32_t frequency_hz;
	int8_t tx_power_dbm;
	uint8_t spreading_factor;
	uint8_t bandwidth;
	uint8_t coding_rate;
	uint16_t preamble_length;
	uint16_t sync_word;
	bool invert_iq;
	bool crc_on;
};

struct prop_radio_status_snapshot {
	bool claimed;
	bool module_ready;
	bool rx_enabled;
	bool rx_running;
	bool sidewalk_subghz_paused;
	uint8_t radio_state;
	sid_error_t last_sid_error;
	int32_t last_radio_error;
	struct prop_radio_config config;
};

struct prop_radio_request {
	enum prop_radio_request_op op;
	struct k_sem done;
	int result;
	sid_error_t sid_error;
	int32_t radio_error;
	union {
		struct prop_radio_config config;
		struct {
			size_t len;
			uint8_t payload[PROP_RADIO_MAX_PAYLOAD_LEN];
		} tx;
	} params;
};

void prop_radio_platform_init(void);
void prop_radio_event_notifier(sid_pal_radio_events_t event);
void prop_radio_irq_handler(void);
void prop_radio_event_request(sidewalk_ctx_t *sid, void *ctx);

int prop_radio_request_submit(struct prop_radio_request *req);
void prop_radio_get_status_snapshot(struct prop_radio_status_snapshot *status);

#ifdef __cplusplus
}
#endif

#endif /* PROP_RADIO_H */
```

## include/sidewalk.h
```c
/*
 * Copyright (c) 2023 Nordic Semiconductor ASA
 *
 * SPDX-License-Identifier: LicenseRef-Nordic-5-Clause
 */
#ifndef SIDEWALK_APP_H
#define SIDEWALK_APP_H

#include <sid_api.h>

#include <zephyr/kernel.h>
#include <zephyr/sys/slist.h>

typedef struct {
	struct sid_handle *handle;
	struct sid_config config;
	struct sid_status last_status;
} sidewalk_ctx_t;

typedef void (*event_handler_t)(sidewalk_ctx_t *sid, void *ctx);
typedef void (*ctx_free)(void *ctx);
typedef struct {
	event_handler_t handler;
	void *ctx;
	ctx_free ctx_free;
} sidewalk_ctx_event_t;

typedef struct {
	sys_snode_t node;
	struct sid_msg msg;
	struct sid_msg_desc desc;
} sidewalk_msg_t;

typedef struct {
	enum sid_option option;
	void *data;
	size_t data_len;
} sidewalk_option_t;

typedef struct {
	uint32_t file_id;
	size_t file_offset;
	void *data;
	size_t data_size;
} sidewalk_transfer_t;

void sidewalk_start(sidewalk_ctx_t *context);

int sidewalk_event_send(event_handler_t event, void *ctx, ctx_free free);

#ifdef CONFIG_SID_END_DEVICE_MULTI_LINK
/* Every link this build supports, so the stack's multi-link manager can bring
 * them up alongside each other rather than one at a time.
 */
#define DEFAULT_LM (uint32_t)(SID_LINK_TYPE_1 | SID_LINK_TYPE_2 | SID_LINK_TYPE_3)
#elif defined(CONFIG_SIDEWALK_LINK_MASK_BLE)
#define DEFAULT_LM (uint32_t)(SID_LINK_TYPE_1)
#elif CONFIG_SIDEWALK_LINK_MASK_FSK
#define DEFAULT_LM (uint32_t)(SID_LINK_TYPE_2)
#elif CONFIG_SIDEWALK_LINK_MASK_LORA
#define DEFAULT_LM (uint32_t)(SID_LINK_TYPE_3)
#else
#define DEFAULT_LM (uint32_t)(SID_LINK_TYPE_1)
#endif

void sidewalk_event_process(sidewalk_ctx_t *sid, void *ctx);
void sidewalk_event_autostart(sidewalk_ctx_t *sid, void *ctx);
void sidewalk_event_factory_reset(sidewalk_ctx_t *sid, void *ctx);
void sidewalk_event_new_status(sidewalk_ctx_t *sid, void *ctx);
void sidewalk_event_send_msg(sidewalk_ctx_t *sid, void *ctx);
void sidewalk_event_connect(sidewalk_ctx_t *sid, void *ctx);
void sidewalk_event_link_switch(sidewalk_ctx_t *sid, void *ctx);
void sidewalk_event_exit(sidewalk_ctx_t *sid, void *ctx);
void sidewalk_event_reboot(sidewalk_ctx_t *sid, void *ctx);
void sidewalk_event_platform_init(sidewalk_ctx_t *sid, void *ctx);

#define EVENT_TO_NAME(event)                                                                       \
	event == sidewalk_event_process	      ? "sidewalk_event_process" :                         \
	event == sidewalk_event_autostart     ? "sidewalk_event_autostart" :                       \
	event == sidewalk_event_factory_reset ? "sidewalk_event_factory_reset" :                   \
	event == sidewalk_event_new_status    ? "sidewalk_event_new_status" :                      \
	event == sidewalk_event_send_msg      ? "sidewalk_event_send_msg" :                        \
	event == sidewalk_event_connect	      ? "sidewalk_event_connect" :                         \
	event == sidewalk_event_link_switch   ? "sidewalk_event_link_switch" :                     \
	event == sidewalk_event_exit	      ? "sidewalk_event_exit" :                            \
	event == sidewalk_event_reboot	      ? "sidewalk_event_reboot" :                          \
	event == sidewalk_event_platform_init ? "sidewalk_event_platform_init" :                   \
						"use addr2line to get name of event"
#endif /* SIDEWALK_APP_H */
```

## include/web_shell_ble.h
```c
/*
 * Copyright (c) 2026
 *
 * SPDX-License-Identifier: LicenseRef-Nordic-5-Clause
 */

#ifndef WEB_SHELL_BLE_H_
#define WEB_SHELL_BLE_H_

int web_shell_ble_start(void);

#endif /* WEB_SHELL_BLE_H_ */
```

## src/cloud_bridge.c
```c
/*
 * Copyright (c) 2026
 *
 * SPDX-License-Identifier: LicenseRef-Nordic-5-Clause
 */

#include <cloud_bridge.h>

#include "json_printer/sidTypes2str.h"
#include <sidewalk.h>
#include <sid_error.h>
#include <sid_hal_memory_ifc.h>

#include <zephyr/kernel.h>
#include <zephyr/logging/log.h>
#include <zephyr/sys/util.h>
#include <string.h>

LOG_MODULE_REGISTER(cloud_bridge, CONFIG_SIDEWALK_LOG_LEVEL);

#define DOWNLINK_RECEIPT_MAX_BYTES 24U
#define DOWNLINK_RECEIPT_MAX_HEX_CHARS (DOWNLINK_RECEIPT_MAX_BYTES * 2U)
#define DOWNLINK_RECEIPT_FORMAT "{\"event\":\"downlink_rx\",\"link\":\"%s\",\"hex\":\"%s\"}"

static void free_cloud_bridge_ctx(void *ctx)
{
	sidewalk_msg_t *msg = (sidewalk_msg_t *)ctx;

	if (msg == NULL) {
		return;
	}

	if (msg->msg.data != NULL) {
		sid_hal_free(msg->msg.data);
	}

	sid_hal_free(msg);
}

static const char *link_type_to_name(uint32_t link_type)
{
	switch (link_type) {
	case SID_LINK_TYPE_1:
		return "BLE";
	case SID_LINK_TYPE_2:
		return "FSK";
	case SID_LINK_TYPE_3:
		return "LoRa";
	default:
		return "UNKNOWN";
	}
}

static void hex_encode_limited(char *dst, size_t dst_size, const uint8_t *src, size_t src_size)
{
	static const char hex_chars[] = "0123456789abcdef";
	size_t bytes_to_encode = MIN(src_size, (size_t)DOWNLINK_RECEIPT_MAX_BYTES);
	size_t pos = 0U;

	if (dst_size == 0U) {
		return;
	}

	for (size_t i = 0U; i < bytes_to_encode; i++) {
		if ((pos + 2U) >= dst_size) {
			break;
		}

		dst[pos++] = hex_chars[(src[i] >> 4) & 0x0F];
		dst[pos++] = hex_chars[src[i] & 0x0F];
	}

	dst[pos] = '\0';
}

static void cloud_bridge_send_event(sidewalk_ctx_t *sid, void *ctx)
{
	sidewalk_msg_t *msg = (sidewalk_msg_t *)ctx;

	if ((sid == NULL) || (sid->handle == NULL)) {
		LOG_WRN("Ignoring downlink receipt while Sidewalk is not started");
		return;
	}

	if (msg == NULL) {
		LOG_ERR("Downlink receipt context is NULL");
		return;
	}

	sid_error_t err = sid_put_msg(sid->handle, &msg->msg, &msg->desc);

	if (err != SID_ERROR_NONE) {
		LOG_ERR("Failed to queue downlink receipt: %d (%s)", (int)err, SID_ERROR_T_STR(err));
		return;
	}

	LOG_INF("Queued downlink receipt event on ANY link, id=%u", msg->desc.id);
}

void cloud_bridge_on_msg_received(const struct sid_msg_desc *msg_desc, const struct sid_msg *msg)
{
	char payload_hex[DOWNLINK_RECEIPT_MAX_HEX_CHARS + 1U];
	char receipt_payload[sizeof(DOWNLINK_RECEIPT_FORMAT) + 8U + DOWNLINK_RECEIPT_MAX_HEX_CHARS];
	sidewalk_msg_t *receipt = NULL;
	int err;

	if ((msg_desc == NULL) || (msg == NULL) || (msg->data == NULL) || (msg->size == 0U)) {
		return;
	}

	if (msg_desc->msg_desc_attr.rx_attr.is_msg_ack) {
		return;
	}

	hex_encode_limited(payload_hex, sizeof(payload_hex), msg->data, msg->size);

	err = snprintk(receipt_payload, sizeof(receipt_payload), DOWNLINK_RECEIPT_FORMAT,
		       link_type_to_name(msg_desc->link_type), payload_hex);
	if ((err < 0) || ((size_t)err >= sizeof(receipt_payload))) {
		LOG_ERR("Failed to encode downlink receipt payload");
		return;
	}

	receipt = sid_hal_malloc(sizeof(*receipt));
	if (receipt == NULL) {
		LOG_ERR("Failed to allocate downlink receipt context");
		return;
	}

	memset(receipt, 0, sizeof(*receipt));

	receipt->msg.size = (size_t)err;
	receipt->msg.data = sid_hal_malloc(receipt->msg.size);
	if (receipt->msg.data == NULL) {
		LOG_ERR("Failed to allocate downlink receipt payload");
		sid_hal_free(receipt);
		return;
	}

	memcpy(receipt->msg.data, receipt_payload, receipt->msg.size);

	receipt->desc.type = SID_MSG_TYPE_NOTIFY;
	receipt->desc.link_type = SID_LINK_TYPE_ANY;
	receipt->desc.link_mode = SID_LINK_MODE_CLOUD;

	err = sidewalk_event_send(cloud_bridge_send_event, receipt, free_cloud_bridge_ctx);
	if (err != 0) {
		LOG_ERR("Failed to enqueue downlink receipt event: %d", err);
		free_cloud_bridge_ctx(receipt);
	}
}
```
